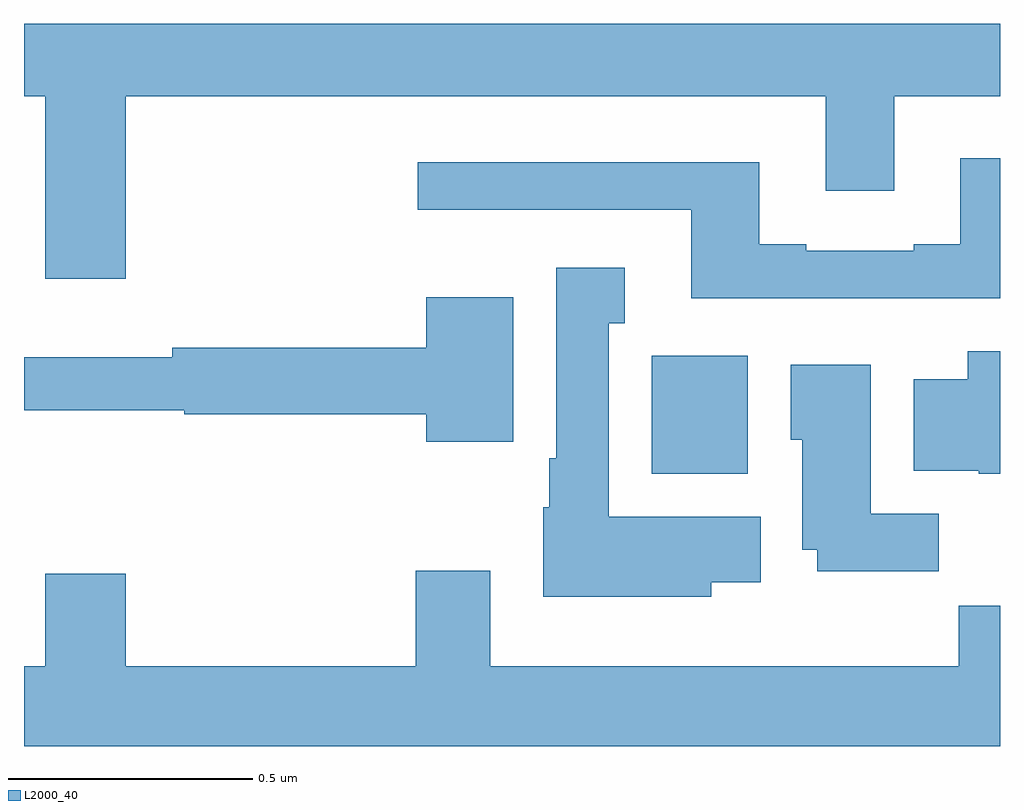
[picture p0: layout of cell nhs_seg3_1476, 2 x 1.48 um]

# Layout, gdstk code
import gdstk
lib = gdstk.Library(unit=1e-6, precision=1e-09)
def R(c, l, rs):  # rectangles x0, y0, x1, y1
    for r in rs: c.add(gdstk.rectangle(r[:2], r[2:], *l))
def P(c, l, *ps):  # polygons
    for p in ps: c.add(gdstk.Polygon(p, *l))
L2000_40 = (2000, 40)

nhs_seg3_1476 = lib.new_cell('nhs_seg3_1476')
R(nhs_seg3_1476, L2000_40, [(130.286,697.478,130.483,697.72)])
P(nhs_seg3_1476, L2000_40, [(129.208,698.252),(130.643,698.252),(130.643,698.058),(130.783,698.058),(130.783,698.252),(131,698.252),(131,698.4),(129,698.4),(129,698.252),(129.044,698.252),(129.044,697.878),(129.208,697.878)],
  [(131,698.125),(130.919,698.125),(130.919,697.948),(130.823,697.948),(130.823,697.935),(130.603,697.935),(130.603,697.948),(130.507,697.948),(130.507,698.116),(129.807,698.116),(129.807,698.019),(130.367,698.019),(130.367,697.838),(131,697.838)],
  [(130.408,697.256),(130.51,697.256),(130.51,697.39),(130.198,697.39),(130.198,697.787),(130.231,697.787),(130.231,697.9),(130.091,697.9),(130.091,697.51),(130.076,697.51),(130.076,697.41),(130.064,697.41),(130.064,697.226),(130.408,697.226)],
  [(130.003,697.84),(129.824,697.84),(129.824,697.736),(129.304,697.736),(129.304,697.717),(129,697.717),(129,697.608),(129.328,697.608),(129.328,697.6),(129.824,697.6),(129.824,697.544),(130.003,697.544)],
  [(131,697.729),(130.934,697.729),(130.934,697.672),(130.823,697.672),(130.823,697.484),(130.956,697.484),(130.956,697.478),(131,697.478)],
  [(130.874,697.396),(130.735,697.396),(130.735,697.702),(130.571,697.702),(130.571,697.548),(130.595,697.548),(130.595,697.322),(130.625,697.322),(130.625,697.278),(130.874,697.278)],
  [(131,697.208),(130.915,697.208),(130.915,697.084),(129.955,697.084),(129.955,697.279),(129.803,697.279),(129.803,697.084),(129.208,697.084),(129.208,697.273),(129.044,697.273),(129.044,697.084),(129,697.084),(129,696.92),(131,696.92)])

lib.write_gds('nhs_seg3_1476.gds')
